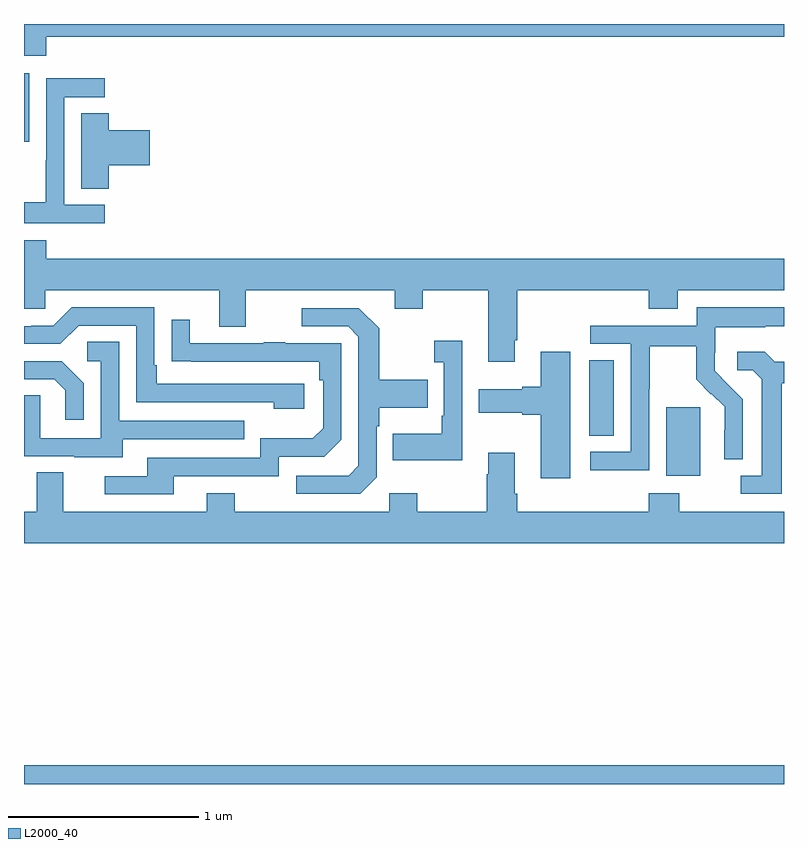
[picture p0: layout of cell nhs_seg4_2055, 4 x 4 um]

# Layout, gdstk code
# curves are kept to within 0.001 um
import gdstk
lib = gdstk.Library(unit=1e-6, precision=1e-09)
def R(c, l, rs):  # rectangles x0, y0, x1, y1
    for r in rs: c.add(gdstk.rectangle(r[:2], r[2:], *l))
def P(c, l, *ps):  # polygons
    for p in ps: c.add(gdstk.Polygon(p, *l))
L2000_40 = (2000, 40)

nhs_seg4_2055 = lib.new_cell('nhs_seg4_2055')
R(nhs_seg4_2055, L2000_40, [(217,780.9,221,781), (220.379,782.522,220.558,782.883), (219.974,782.734,220.105,783.131), (217,784.281,217.027,784.642)])
P(nhs_seg4_2055, L2000_40, [(217.118,784.832),(221,784.832),(221,784.9),(217,784.9),(217,784.733),(217.118,784.733)],
  [(217.426,783.948),(217.212,783.948),(217.212,784.515),(217.426,784.515),(217.426,784.614),(217.116,784.614),(217.116,784.184),(217.114,784.184),(217.114,783.961),(217,783.961),(217,783.852),(217.426,783.852)],
  [(217.445,784.157),(217.663,784.157),(217.663,784.34),(217.445,784.34),(217.445,784.43),(217.301,784.43),(217.301,784.033),(217.445,784.033)],
  [(219.583,783.235),(219.596,783.235),(219.596,783.5),(220.289,783.5),(220.289,783.401),(220.441,783.401),(220.441,783.5),(221,783.5),(221,783.664),(217.118,783.664),(217.118,783.763),(217,783.763),(217,783.402),(217.113,783.402),(217.113,783.5),(218.027,783.5),(218.027,783.306),(218.167,783.306),(218.167,783.5),(218.951,783.5),(218.951,783.401),(219.099,783.401),(219.099,783.5),(219.443,783.5),(219.443,783.123),(219.583,783.123)],
  [(220.29,782.98),(220.293,782.98),(220.293,783.204),(220.537,783.204),(220.537,783.029),(220.614,782.952),(220.617,782.955),(220.688,782.885),(220.688,782.762),(220.686,782.762),(220.686,782.608),(220.782,782.608),(220.782,782.926),(220.636,783.074),(220.636,783.171),(220.638,783.171),(220.638,783.305),(220.901,783.305),(220.901,783.309),(221,783.309),(221,783.409),(220.542,783.409),(220.542,783.312),(219.981,783.312),(219.981,783.216),(220.194,783.216),(220.194,782.649),(219.981,782.649),(219.981,782.551),(220.29,782.551)],
  [(218.476,783.006),(217.699,783.006),(217.699,783.103),(217.686,783.103),(217.686,783.408),(217.251,783.408),(217.155,783.312),(217.037,783.312),(217.037,783.309),(217,783.309),(217,783.216),(217.191,783.216),(217.287,783.312),(217.59,783.312),(217.59,782.91),(218.315,782.91),(218.315,782.876),(218.476,782.876)],
  [(218.856,782.514),(218.856,782.783),(218.869,782.783),(218.869,782.879),(219.125,782.879),(219.125,783.027),(218.869,783.027),(218.869,783.299),(218.763,783.405),(218.463,783.405),(218.463,783.309),(218.706,783.309),(218.76,783.255),(218.76,782.574),(218.709,782.523),(218.433,782.523),(218.433,782.427),(218.769,782.427)],
  [(217.789,782.52),(218.34,782.52),(218.34,782.622),(218.58,782.622),(218.67,782.712),(218.67,783.219),(218.375,783.219),(218.375,783.224),(218.263,783.224),(218.263,783.219),(217.873,783.219),(217.873,783.343),(217.777,783.343),(217.777,783.124),(218.554,783.123),(218.554,783.026),(218.574,783.026),(218.574,782.772),(218.521,782.719),(218.244,782.719),(218.244,782.616),(217.649,782.616),(217.649,782.52),(217.425,782.52),(217.425,782.424),(217.789,782.424)],
  [(219.306,783.232),(219.159,783.232),(219.159,783.119),(219.21,783.119),(219.21,782.839),(219.198,782.839),(219.198,782.743),(218.941,782.743),(218.941,782.603),(219.306,782.603)],
  [(217.519,782.715),(218.159,782.715),(218.159,782.811),(217.5,782.811),(217.5,783.227),(217.332,783.227),(217.332,783.126),(217.404,783.126),(217.404,782.721),(217.086,782.721),(217.086,782.945),(217,782.945),(217,782.625),(217.265,782.625),(217.265,782.621),(217.519,782.621)],
  [(219.874,783.175),(219.719,783.175),(219.719,782.99),(219.623,782.99),(219.623,782.977),(219.393,782.977),(219.393,782.855),(219.623,782.855),(219.623,782.843),(219.719,782.843),(219.719,782.508),(219.874,782.508)],
  [(220.987,783.008),(221,783.008),(221,783.123),(220.95,783.123),(220.898,783.175),(220.755,783.175),(220.755,783.078),(220.836,783.078),(220.883,783.031),(220.883,782.523),(220.773,782.523),(220.773,782.427),(220.987,782.427)],
  [(217.314,783.01),(217.198,783.126),(217,783.126),(217,783.03),(217.16,783.03),(217.217,782.973),(217.217,782.817),(217.314,782.817)],
  [(221,782.332),(220.449,782.332),(220.449,782.431),(220.289,782.431),(220.289,782.332),(219.596,782.332),(219.596,782.428),(219.583,782.428),(219.583,782.644),(219.443,782.644),(219.443,782.531),(219.436,782.531),(219.436,782.332),(219.069,782.332),(219.069,782.431),(218.922,782.431),(218.922,782.332),(218.109,782.332),(218.109,782.431),(217.961,782.431),(217.961,782.332),(217.207,782.332),(217.207,782.54),(217.067,782.54),(217.067,782.332),(217,782.332),(217,782.168),(221,782.168)])

lib.write_gds('nhs_seg4_2055.gds')
